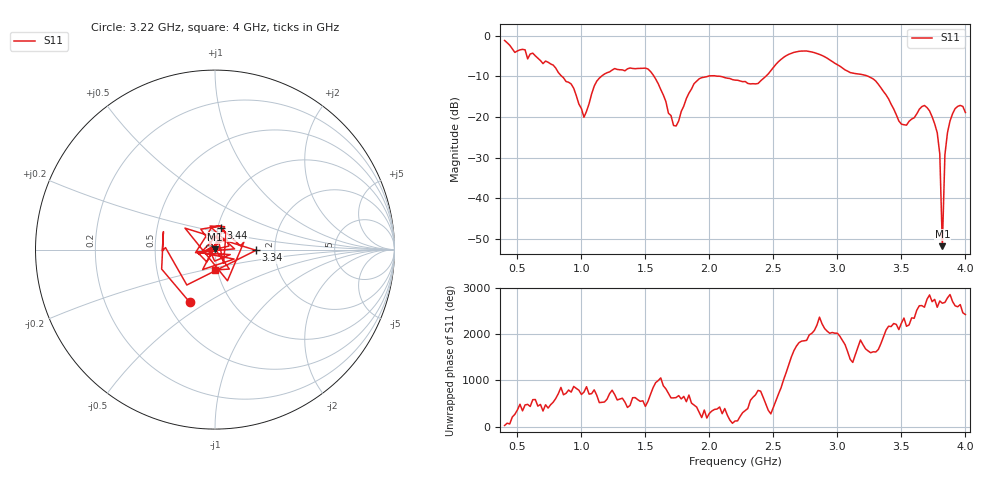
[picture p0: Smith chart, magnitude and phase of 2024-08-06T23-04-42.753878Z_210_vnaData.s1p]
!Created with skrf (http://scikit-rf.org).
# Hz S RI R 50.0
!freq ReS11 ImS11
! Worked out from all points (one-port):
!   181 points, 400 MHz to 4 GHz, reference 50 ohm
!   lowest |S11| = -51.7 dB at 3.82 GHz (marker M1), VSWR 1.01, Z = 49.8 + j0.116 ohm
!   |S11| at or under -10 dB: 1.567 GHz to 1.989 GHz (421.8 MHz wide, 23.7 % of centre); 2.082 GHz to 2.441 GHz (358.8 MHz wide, 15.9 % of centre); 3.24 GHz to end of sweep (the widest 3 of 4)
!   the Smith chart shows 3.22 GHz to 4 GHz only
!   S11 on the Smith chart (normalised r, x): 3.22 GHz: 0.64, -0.42; 3.34 GHz: 1.59, -0.01; 3.44 GHz: 1.04, +0.25; 4 GHz: 0.97, -0.22
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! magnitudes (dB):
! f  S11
! 400 MHz  -1.2
! 860 MHz  -10.4
! 940 MHz  -13.0
! 1.02 GHz  -20.1
! 1.12 GHz  -11.2
! 1.3 GHz  -8.4
! 1.52 GHz  -8.2
! 1.6 GHz  -11.8
! 1.72 GHz  -22.1
! 1.76 GHz  -21.0
! 1.92 GHz  -10.6
! 2.2 GHz  -10.9
! 2.38 GHz  -11.8
! 2.66 GHz  -4.1
! 3.1 GHz  -9.1
! 3.22 GHz  -9.8
! 3.34 GHz  -12.8
! 3.44 GHz  -18.0
! 3.5 GHz  -21.8
! 3.56 GHz  -21.1
! 3.68 GHz  -17.2
! 3.78 GHz  -23.9
! 3.8 GHz  -29.1
! 3.82 GHz  -51.7
! 3.84 GHz  -29.3
! 3.86 GHz  -23.9
! 3.92 GHz  -17.9
! 4 GHz  -18.9
